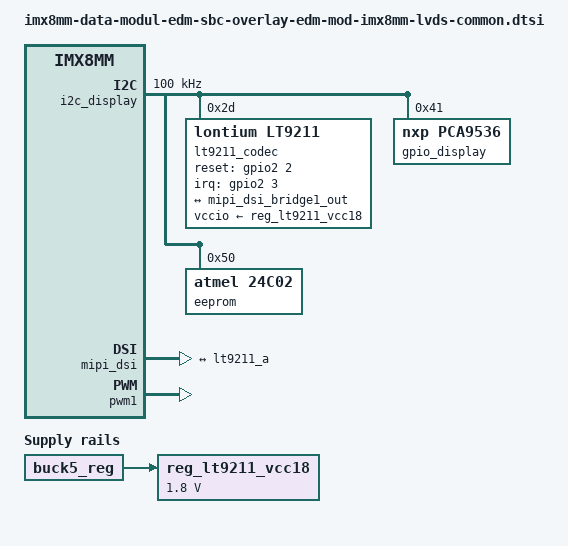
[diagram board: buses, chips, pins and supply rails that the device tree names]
// SPDX-License-Identifier: (GPL-2.0+ OR MIT)
/*
 * Copyright 2026 Marek Vasut
 */

&{/} {
	reg_lt9211_vcc18: regulator-lt9211-vcc18 {
		compatible = "regulator-fixed";
		regulator-name = "LT9211_VCC18";
		regulator-min-microvolt = <1800000>;
		regulator-max-microvolt = <1800000>;
		vin-supply = <&buck5_reg>;	/* X400 pin 51, +1V8_S0 */
	};
};

&i2c_display {	/* Display connector I2C */
	#address-cells = <1>;
	#size-cells = <0>;
	clock-frequency = <100000>;

	lt9211_codec: bridge@2d {
		compatible = "lontium,lt9211";
		reg = <0x2d>;
		pinctrl-names = "default";
		pinctrl-0 = <&pinctrl_panel_expansion>;
		interrupts-extended = <&gpio2 3 IRQ_TYPE_EDGE_FALLING>;
		reset-gpios = <&gpio2 2 GPIO_ACTIVE_HIGH>;
		vccio-supply = <&reg_lt9211_vcc18>;

		ports {
			#address-cells = <1>;
			#size-cells = <0>;

			port@0 {
				reg = <0>;

				lt9211_a: endpoint {
					data-lanes = <1 2 3 4>;
					remote-endpoint = <&mipi_dsi_bridge1_out>;
				};
			};
		};
	};

	gpio_display: io-expander@41 {
		compatible = "nxp,pca9536";
		reg = <0x41>;
		gpio-controller;
		#gpio-cells = <2>;
		gpio-line-names = "SEL_12V", "SEL_5V", "SEL_PWM", "SEL_EN";
	};

	eeprom@50 {
		compatible = "atmel,24c02";
		reg = <0x50>;
		pagesize = <16>;
	};
};

&reg_backlight_en_level {
	gpios = <&gpio_display 3 GPIO_ACTIVE_HIGH>; /* SEL_EN */
};

&reg_backlight_pwm_level {
	gpios = <&gpio_display 2 GPIO_ACTIVE_HIGH>; /* SEL_PWM */
};

&reg_panel_bl {
	gpio = <&gpio3 0 0>;
};

&iomuxc {
	/* Free &pinctrl_panel_expansion from hog for lt9211_codec above */
	pinctrl-0 = <&pinctrl_hog_misc>, <&pinctrl_hog_feature>,
		    <&pinctrl_hog_panel>, <&pinctrl_hog_sbc>;
};

&mipi_dsi {
	status = "okay";

	ports {
		#address-cells = <1>;
		#size-cells = <0>;

		port@1 {
			reg = <1>;

			mipi_dsi_bridge1_out: endpoint {
				clock-lanes = <0>;
				data-lanes = <1 2 3 4>;
				/* Clock and data lanes have DN/DP swapped */
				lane-polarities = <1 1 1 1 1>;
				remote-endpoint = <&lt9211_a>;
			};
		};
	};
};

&pwm1 {
	status = "okay";
};

&reg_panel_vcc {
	/*
	 * AP63300 voltage divider settings:
	 *   R1=16k2
	 *   R2=5k23 with optional series Rs=7k68 (5V) or Rt=1k5 (12V)
	 *
	 * 1 / Rx = (1 / R2) [ + (1 / Rs)][ + (1 / Rt)]
	 * Vout = 0.8 * ((R1 / Rx) + 1)
	 */
	gpios = <&gpio_display 1 GPIO_ACTIVE_HIGH>,	/* 5V */
		<&gpio_display 0 GPIO_ACTIVE_HIGH>;	/* 12V */
	states = <3300000 0x0>,
		 <5000000 0x1>,
		 <12000000 0x2>,
		 <3900000 0x3>;
};
